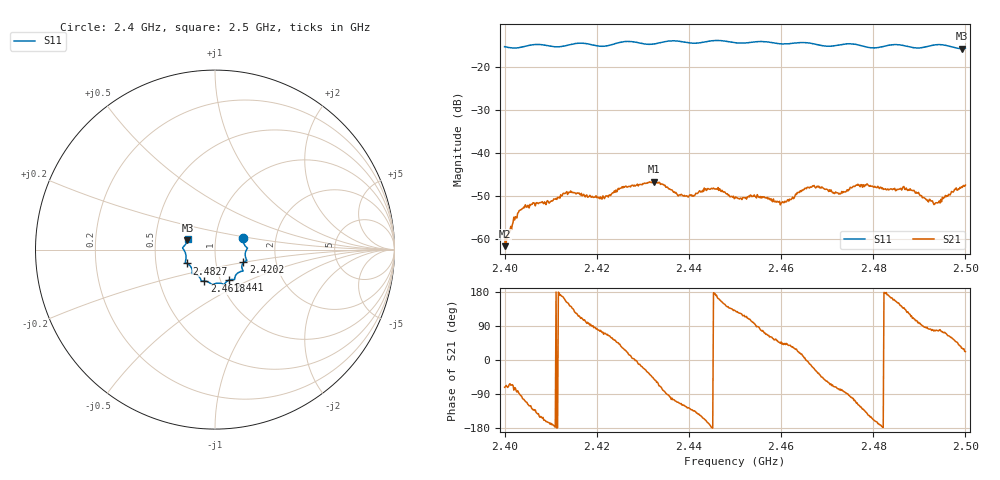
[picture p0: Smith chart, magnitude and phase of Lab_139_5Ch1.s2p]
# Hz S RI R 50
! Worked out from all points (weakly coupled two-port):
!   601 points, 2.4 GHz to 2.5 GHz, reference 50 ohm
!   highest |S21| = -46.71 dB at 2.4323 GHz (marker M1); lowest = -61.6 dB at 2.4 GHz (marker M2)
!   lowest |S11| = -15.8 dB at 2.4993 GHz (marker M3), VSWR 1.39, Z = 36.5 + j3.83 ohm
!   |S11| at or under -10 dB: start of sweep to end of sweep
!   S12 and S22 are empty: the file has one direction only
!   S11 on the Smith chart (normalised r, x): 2.4 GHz: 1.36, +0.18; 2.4202 GHz: 1.36, -0.20; 2.441 GHz: 1.10, -0.39; 2.4618 GHz: 0.84, -0.30; 2.4827 GHz: 0.72, -0.12; 2.5 GHz: 0.73, +0.09
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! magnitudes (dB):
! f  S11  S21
! 2.4 GHz  -15.4  -61.6
! 2.4023 GHz  -15.7  -54.8
! 2.404 GHz  -15.4  -52.8
! 2.4138 GHz  -15.0  -49.1
! 2.4167 GHz  -14.5  -49.4
! 2.4202 GHz  -15.2  -50.2
! 2.4323 GHz  -14.7  -46.7
! 2.4333 GHz  -14.5  -47.0
! 2.4378 GHz  -14.1  -49.8
! 2.441 GHz  -14.6  -50.1
! 2.4458 GHz  -13.9  -48.3
! 2.45 GHz  -14.4  -50.5
! 2.4618 GHz  -14.7  -50.7
! 2.4667 GHz  -14.6  -47.9
! 2.4725 GHz  -15.0  -49.5
! 2.4765 GHz  -14.9  -47.5
! 2.4827 GHz  -15.2  -48.3
! 2.4833 GHz  -15.0  -48.6
! 2.4885 GHz  -15.5  -48.7
! 2.4935 GHz  -14.9  -51.6
! 2.4993 GHz  -15.8  -48.0
! 2.5 GHz  -15.7  -47.5
